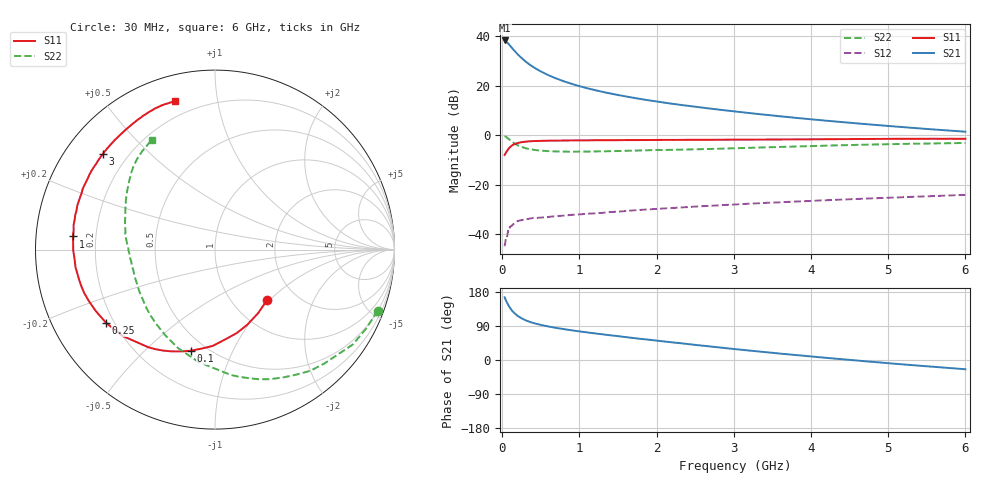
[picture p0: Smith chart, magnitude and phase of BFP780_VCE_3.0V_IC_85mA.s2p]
! Infineon Technologies  Discrete & RF Semiconductors
! BFP780
! VCE =  3.0 V,  IC =  85 mA
! Common Emitter S-Parameters:  Jul 2015
# GHz  S  MA  R  50
!  f  S11  S21  S12  S22
! GHz  MAG  ANG  MAG  ANG  MAG  ANG  MAG  ANG
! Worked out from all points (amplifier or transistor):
!   75 points, 30 MHz to 6 GHz, reference 50 ohm
!   highest |S21| = 38.4 dB at 30 MHz (marker M1)
!   |S21| within 3 dB of that: start of sweep to 125.1 MHz
!   unconditionally stable (mu >= 1): 1.773 GHz to end of sweep
!   at 150 MHz: K = 0.15, MSG = 35.1 dB, |S12| = -35.7 dB
!   at 2.3 GHz: K = 1.11, MAG = 18.7 dB, |S12| = -29.1 dB
!   at 6 GHz: K = 1.27, MAG = 9.6 dB, |S12| = -24.0 dB
!   S11 on the Smith chart (normalised r, x): 30 MHz: 1.44, -0.96; 100 MHz: 0.41, -0.70; 250 MHz: 0.17, -0.30; 1 GHz: 0.11, +0.05; 3 GHz: 0.11, +0.36; 6 GHz: 0.12, +0.76
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0.03  0.4034 -43.9  82.77 165.5  0.0058 74.7  0.9688 -20.6
0.05  0.4563 -67.0  78.64 156.0  0.0087 58.7  0.933 -34.4
0.06  0.481 -75.5  76.19 151.9  0.0086 67.3  0.9017 -40.1
0.08  0.5365 -91.3  70.76 144.1  0.0127 60.1  0.8592 -51.8
0.1  0.5791 -103.4  65.14 137.7  0.0144 54.7  0.8069 -62.0
0.12  0.6162 -113.0  59.85 131.9  0.015 46.7  0.7642 -71.0
0.15  0.6583 -124.1  52.81 125.0  0.0164 42.5  0.7042 -82.8
0.2  0.7049 -137.0  43.41 116.3  0.0187 36.0  0.6327 -98.4
0.25  0.7313 -146.1  36.54 109.9  0.0195 32.1  0.5865 -110.4
0.3  0.7471 -152.7  31.26 105.0  0.0201 29.0  0.5526 -120.0
0.35  0.7591 -157.8  27.27 101.1  0.0208 27.9  0.5293 -127.7
0.5  0.776 -168.0  19.56 92.6  0.0219 25.6  0.4921 -143.8
0.7  0.7848 -176.6  14.09 84.6  0.0235 24.9  0.4739 -156.9
1  0.7952 174.7  9.889 75.5  0.0254 26.1  0.4715 -168.8
1.1  0.795 172.3  8.971 72.8  0.0262 26.2  0.4715 -171.9
1.5  0.8017 164.3  6.546 62.9  0.0289 27.9  0.4836 179.0
2.1  0.8112 153.8  4.592 48.9  0.0336 28.1  0.5078 169.2
3  0.8213 139.6  3.068 29.0  0.0402 26.7  0.5499 155.2
3.1  0.8225 138.2  2.945 27.0  0.041 26.8  0.5556 153.7
4.1  0.8359 124.3  2.05 7.5  0.0485 23.1  0.6151 140.8
5.1  0.8541 113.2  1.51 -10.1  0.0557 18.3  0.6691 129.7
6  0.8563 105.2  1.189 -24.4  0.063 13.0  0.7044 119.7
